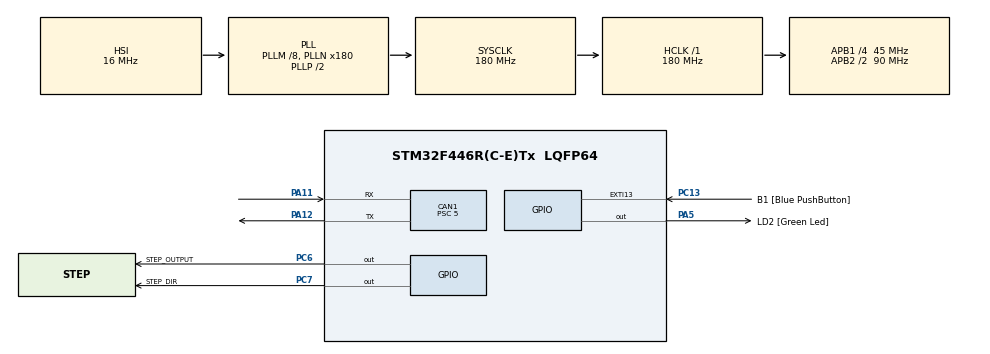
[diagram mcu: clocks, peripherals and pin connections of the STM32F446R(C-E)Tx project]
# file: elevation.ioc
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CAN1.BS1=CAN_BS1_14TQ
CAN1.BS2=CAN_BS2_3TQ
CAN1.CalculateBaudRate=500000
CAN1.CalculateTimeBit=2000
CAN1.CalculateTimeQuantum=111.11111111111111
CAN1.Prescaler=5
Mcu.Family=STM32F4
Mcu.Name=STM32F446R(C-E)Tx
Mcu.Package=LQFP64
NVIC.PriorityGroup=NVIC_PRIORITYGROUP_0
PA11.Mode=CAN_Activate
PA11.Signal=CAN1_RX
PA12.Mode=CAN_Activate
PA12.Signal=CAN1_TX
PA13.GPIO_Label=TMS
PA13.Signal=SYS_JTMS-SWDIO
PA14.GPIO_Label=TCK
PA14.Signal=SYS_JTCK-SWCLK
PA2.GPIO_Label=USART_TX
PA2.Signal=USART2_TX
PA3.GPIO_Label=USART_RX
PA3.Signal=USART2_RX
PA5.GPIO_Label=LD2 [Green Led]
PA5.Signal=GPIO_Output
PB3.GPIO_Label=SWO
PB3.Signal=SYS_JTDO-SWO
PC13.GPIO_Label=B1 [Blue PushButton]
PC13.GPIO_ModeDefaultEXTI=GPIO_MODE_IT_FALLING
PC13.Signal=GPXTI13
PC14-OSC32_IN.Signal=RCC_OSC32_IN
PC15-OSC32_OUT.Signal=RCC_OSC32_OUT
PC6.GPIO_Label=STEP_OUTPUT
PC6.GPIO_ModeDefaultOutputPP=GPIO_MODE_OUTPUT_PP
PC6.GPIO_PuPd=GPIO_PULLDOWN
PC6.PinState=GPIO_PIN_SET
PC6.Signal=GPIO_Output
PC7.GPIO_Label=STEP_DIR
PC7.GPIO_PuPd=GPIO_PULLDOWN
PC7.PinState=GPIO_PIN_SET
PC7.Signal=GPIO_Output
PH0-OSC_IN.Signal=RCC_OSC_IN
PH1-OSC_OUT.Signal=RCC_OSC_OUT
ProjectManager.HeapSize=0x200
ProjectManager.StackSize=0x400
ProjectManager.TargetToolchain=STM32CubeIDE
RCC.AHBFreq_Value=180000000
RCC.APB1CLKDivider=RCC_HCLK_DIV4
RCC.APB1Freq_Value=45000000
RCC.APB1TimFreq_Value=90000000
RCC.APB2CLKDivider=RCC_HCLK_DIV2
RCC.APB2Freq_Value=90000000
RCC.APB2TimFreq_Value=180000000
RCC.CortexFreq_Value=180000000
RCC.FLatency-AdvancedSettings=FLASH_LATENCY_5
RCC.HCLKFreq_Value=180000000
RCC.HSE_VALUE=8000000
RCC.HSI_VALUE=16000000
RCC.LSE_VALUE=32768
RCC.PLLM=8
RCC.PLLN=180
RCC.SYSCLKFreq_VALUE=180000000
RCC.SYSCLKSource=RCC_SYSCLKSOURCE_PLLCLK
RCC.USBFreq_Value=180000000
RCC.VCOOutputFreq_Value=360000000
board=NUCLEO-F446RE

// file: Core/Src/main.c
/* USER CODE BEGIN Header */
/**
  ******************************************************************************
  * @file           : main.c
  * @brief          : Main program body
  ******************************************************************************
  * @attention
  *
  * Copyright (c) 2026 STMicroelectronics.
  * All rights reserved.
  *
  * This software is licensed under terms that can be found in the LICENSE file
  * in the root directory of this software component.
  * If no LICENSE file comes with this software, it is provided AS-IS.
  *
  ******************************************************************************
  */
/* USER CODE END Header */
#include "main.h"

/* USER CODE BEGIN Includes */
#include "can_device.h"
/* USER CODE END Includes */

/* USER CODE BEGIN PD */
// subsystem constants
#define MIN_HEIGHT 0.5 // TODO needs to be calculated and set based on physical measurements (meters)
#define MAX_HEIGHT 1.0 // TODO needs to be calculated and set based on physical measurements (meters)

#define CONV_FACTOR 769230.7692

// ---------------- CAN message constants (can be added to form message) ----------------
// device id bits [8:5]
#define CAN_DEV_ID 0x100

// priority bits (first two bits of CAN ID)
#define CAN_PR_CRIT 0x000 // 0b00
#define CAN_PR_CTRL 0x200 // 0b01
#define CAN_PR_STAT 0x400 // 0b10
#define CAN_PR_DBUG 0x600 // 0b11

// message type bits (last five bits)
#define FILLER_MESSAGE 0x000

// CAN receive filter IDs
#define CAN_MSG_GLOBAL_STOP 0x000
#define CAN_MSG_HEARTBEAT 0x001
#define CAN_MSG_SET_HEIGHT 0x224

/* USER CODE END PD */

CAN_HandleTypeDef hcan1;

/* USER CODE BEGIN PV */
float current_height = 0; // should be the height of the platform and is respective to both motors
/* USER CODE END PV */

void SystemClock_Config(void);
static void MX_GPIO_Init(void);
static void MX_CAN1_Init(void);
/* USER CODE BEGIN PFP */
// CAN function callback plus helpers
static void can_rx_callback(CANDevice_t *device);
static void proccess_can_data(uint16_t message_id, uint8_t *data);

// stepper control functions
static void increment_steps(int steps);
static void decrement_steps(int steps);

// helper functions
static int dist_to_steps(double height);
/* USER CODE END PFP */

int main(void)
{

  /* MCU Configuration--------------------------------------------------------*/

  /* Reset of all peripherals, Initializes the Flash interface and the Systick. */
  HAL_Init();

  /* Configure the system clock */
  SystemClock_Config();

  /* Initialize all configured peripherals */
  MX_GPIO_Init();
  MX_CAN1_Init();

  /* Infinite loop */
  while (1)
  {

  }
}

void SystemClock_Config(void)
{
  RCC_OscInitTypeDef RCC_OscInitStruct = {0};
  RCC_ClkInitTypeDef RCC_ClkInitStruct = {0};

  /** Configure the main internal regulator output voltage
  */
  __HAL_RCC_PWR_CLK_ENABLE();
  __HAL_PWR_VOLTAGESCALING_CONFIG(PWR_REGULATOR_VOLTAGE_SCALE1);

  /** Initializes the RCC Oscillators according to the specified parameters
  * in the RCC_OscInitTypeDef structure.
  */
  RCC_OscInitStruct.OscillatorType = RCC_OSCILLATORTYPE_HSI;
  RCC_OscInitStruct.HSIState = RCC_HSI_ON;
  RCC_OscInitStruct.HSICalibrationValue = RCC_HSICALIBRATION_DEFAULT;
  RCC_OscInitStruct.PLL.PLLState = RCC_PLL_ON;
  RCC_OscInitStruct.PLL.PLLSource = RCC_PLLSOURCE_HSI;
  RCC_OscInitStruct.PLL.PLLM = 8;
  RCC_OscInitStruct.PLL.PLLN = 180;
  RCC_OscInitStruct.PLL.PLLP = RCC_PLLP_DIV2;
  RCC_OscInitStruct.PLL.PLLQ = 2;
  RCC_OscInitStruct.PLL.PLLR = 2;
  if (HAL_RCC_OscConfig(&RCC_OscInitStruct) != HAL_OK)
  {
    Error_Handler();
  }

  /** Activate the Over-Drive mode
  */
  if (HAL_PWREx_EnableOverDrive() != HAL_OK)
  {
    Error_Handler();
  }

  /** Initializes the CPU, AHB and APB buses clocks
  */
  RCC_ClkInitStruct.ClockType = RCC_CLOCKTYPE_HCLK|RCC_CLOCKTYPE_SYSCLK
                              |RCC_CLOCKTYPE_PCLK1|RCC_CLOCKTYPE_PCLK2;
  RCC_ClkInitStruct.SYSCLKSource = RCC_SYSCLKSOURCE_PLLCLK;
  RCC_ClkInitStruct.AHBCLKDivider = RCC_SYSCLK_DIV1;
  RCC_ClkInitStruct.APB1CLKDivider = RCC_HCLK_DIV4;
  RCC_ClkInitStruct.APB2CLKDivider = RCC_HCLK_DIV2;

  if (HAL_RCC_ClockConfig(&RCC_ClkInitStruct, FLASH_LATENCY_5) != HAL_OK)
  {
    Error_Handler();
  }
}

static void MX_CAN1_Init(void)
{

  hcan1.Instance = CAN1;
  hcan1.Init.Prescaler = 5;
  hcan1.Init.Mode = CAN_MODE_NORMAL;
  hcan1.Init.SyncJumpWidth = CAN_SJW_1TQ;
  hcan1.Init.TimeSeg1 = CAN_BS1_14TQ;
  hcan1.Init.TimeSeg2 = CAN_BS2_3TQ;
  hcan1.Init.TimeTriggeredMode = DISABLE;
  hcan1.Init.AutoBusOff = DISABLE;
  hcan1.Init.AutoWakeUp = DISABLE;
  hcan1.Init.AutoRetransmission = DISABLE;
  hcan1.Init.ReceiveFifoLocked = DISABLE;
  hcan1.Init.TransmitFifoPriority = DISABLE;
  if (HAL_CAN_Init(&hcan1) != HAL_OK)
  {
    Error_Handler();
  }

}

static void MX_GPIO_Init(void)
{
  GPIO_InitTypeDef GPIO_InitStruct = {0};

  /* GPIO Ports Clock Enable */
  __HAL_RCC_GPIOC_CLK_ENABLE();
  __HAL_RCC_GPIOH_CLK_ENABLE();
  __HAL_RCC_GPIOA_CLK_ENABLE();
  __HAL_RCC_GPIOB_CLK_ENABLE();

  /*Configure GPIO pin Output Level */
  HAL_GPIO_WritePin(LD2_GPIO_Port, LD2_Pin, GPIO_PIN_RESET);

  /*Configure GPIO pin Output Level */
  HAL_GPIO_WritePin(GPIOC, STEP_OUTPUT_Pin|STEP_DIR_Pin, GPIO_PIN_SET);

  /*Configure GPIO pin : B1_Pin */
  GPIO_InitStruct.Pin = B1_Pin;
  GPIO_InitStruct.Mode = GPIO_MODE_IT_FALLING;
  GPIO_InitStruct.Pull = GPIO_NOPULL;
  HAL_GPIO_Init(B1_GPIO_Port, &GPIO_InitStruct);

  /*Configure GPIO pins : USART_TX_Pin USART_RX_Pin */
  GPIO_InitStruct.Pin = USART_TX_Pin|USART_RX_Pin;
  GPIO_InitStruct.Mode = GPIO_MODE_AF_PP;
  GPIO_InitStruct.Pull = GPIO_NOPULL;
  GPIO_InitStruct.Speed = GPIO_SPEED_FREQ_VERY_HIGH;
  GPIO_InitStruct.Alternate = GPIO_AF7_USART2;
  HAL_GPIO_Init(GPIOA, &GPIO_InitStruct);

  /*Configure GPIO pin : LD2_Pin */
  GPIO_InitStruct.Pin = LD2_Pin;
  GPIO_InitStruct.Mode = GPIO_MODE_OUTPUT_PP;
  GPIO_InitStruct.Pull = GPIO_NOPULL;
  GPIO_InitStruct.Speed = GPIO_SPEED_FREQ_LOW;
  HAL_GPIO_Init(LD2_GPIO_Port, &GPIO_InitStruct);

  /*Configure GPIO pins : STEP_OUTPUT_Pin STEP_DIR_Pin */
  GPIO_InitStruct.Pin = STEP_OUTPUT_Pin|STEP_DIR_Pin;
  GPIO_InitStruct.Mode = GPIO_MODE_OUTPUT_PP;
  GPIO_InitStruct.Pull = GPIO_PULLDOWN;
  GPIO_InitStruct.Speed = GPIO_SPEED_FREQ_LOW;
  HAL_GPIO_Init(GPIOC, &GPIO_InitStruct);

}

/* USER CODE BEGIN 4 */
static void increment_steps(int steps) {
	HAL_GPIO_WritePin(GPIOC, STEP_DIR_Pin, GPIO_PIN_RESET); // DIR increamnt
	HAL_Delay(0.100); // 100 ns delay (hold time)

	for(int i = 0; i < steps; ++i) {
		HAL_GPIO_WritePin(GPIOC, STEP_OUTPUT_Pin, GPIO_PIN_SET); // send pulse high
		HAL_Delay(0.200); // 200 ns delay
		HAL_GPIO_WritePin(GPIOC, STEP_OUTPUT_Pin, GPIO_PIN_RESET); // send pulse low
		HAL_Delay(0.200); // 200 ns delay

	}
}

static void decrement_steps(int steps) {
	HAL_GPIO_WritePin(GPIOC, STEP_DIR_Pin, GPIO_PIN_SET); // DIR increamnt
	HAL_Delay(0.100); // 100 ns delay (hold time)

	for(int i = 0; i < steps; ++i) {
		HAL_GPIO_WritePin(GPIOC, STEP_OUTPUT_Pin, GPIO_PIN_SET); // send pulse low
		HAL_Delay(0.200); // 200 ns delay
		HAL_GPIO_WritePin(GPIOC, STEP_OUTPUT_Pin, GPIO_PIN_RESET); // send pulse high
		HAL_Delay(0.200); // 200 ns delay

	}
}

static int dist_to_steps(double height){
	int steps = CONV_FACTOR * height;
	return abs(steps);
}

// callback for receiving CAN data
static void can_rx_callback(CANDevice_t *device) {
	if (device->msgReceived) {
		// Only pull data if we actually have a new message
		uint8_t *rx_data = device->rxBuffer;
		uint16_t message_id = device->rxHeader.StdId;

		proccess_can_data(message_id, rx_data);

		device->msgReceived = false;
	}
}

// proccess the can data based on the message ID (little endian data protocol)
static void proccess_can_data(uint16_t message_id, uint8_t *data) {
    float received_val;

    // Copy the 4 bytes back into a float variable
    memcpy(&received_val, data, sizeof(float));

    if (received_val < MAX_HEIGHT && received_val > MIN_HEIGHT) {
		switch (message_id) {
			case CAN_MSG_SET_HEIGHT:
				float height_diff = received_val - current_height;
				int steps = dist_to_steps(height_diff);
				if (height_diff > 0) {
					increment_steps(steps);
				} else {
					decrement_steps(steps);
				}
				break;
		}
    }
}
/* USER CODE END 4 */

void Error_Handler(void)
{
  __disable_irq();
  while (1)
  {
  }
}
